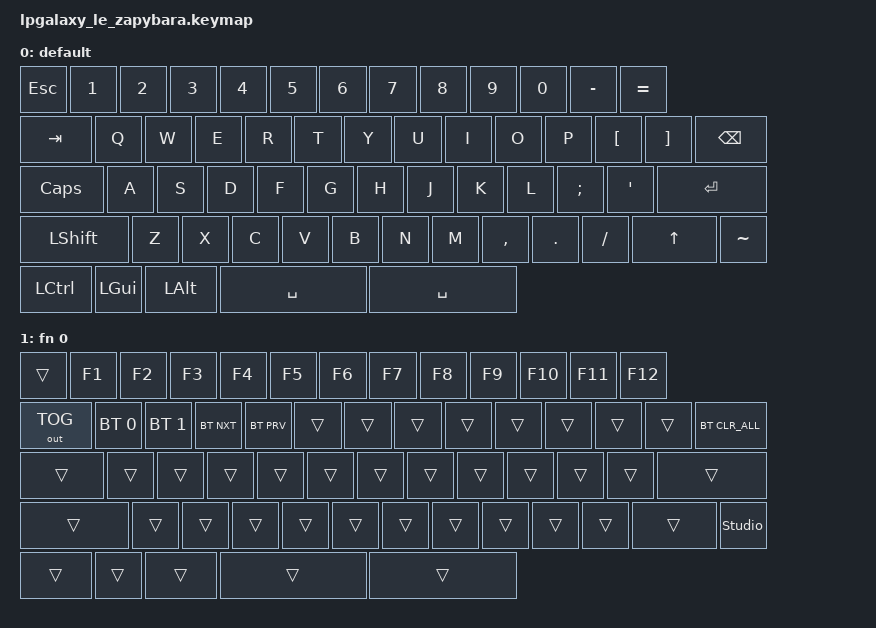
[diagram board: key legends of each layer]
/*
 * Copyright (c) 2020 The ZMK Contributors
 *
 * SPDX-License-Identifier: MIT
 */

/* #undef ZMK_BEHAVIORS_KEEP_ALL   not enabling all behaviors, it works, add the #! */
/* #define ZMK_BEHAVIORS_KEEP_KT */

#include <behaviors.dtsi>
#include <dt-bindings/zmk/keys.h>
#include <dt-bindings/zmk/bt.h>
#include <dt-bindings/zmk/outputs.h>  /* this needed to enable output toggle */
#include <dt-bindings/zmk/behavior.h>

/ {

    keymap {
        compatible = "zmk,keymap";

        default_layer {
            display-name = "default";
            bindings = <
                &kp ESC  &kp N1  &kp N2  &kp N3  &kp N4  &kp N5  &kp N6  &kp N7  &kp N8  &kp N9  &kp N0  &kp MINUS  &kp EQUAL
                &kp TAB  &kp Q   &kp W   &kp E   &kp R   &kp T   &kp Y   &kp U   &kp I   &kp O   &kp P   &kp LBKT   &kp RBKT   &kp BSPC
                &kp CAPS &kp A   &kp S   &kp D   &kp F   &kp G   &kp H   &kp J   &kp K   &kp L   &kp SEMI &kp APOS  &kp ENTER
                &kp LSHFT &kp Z  &kp X   &kp C   &kp V   &kp B   &kp N   &kp M  &kp COMMA &kp DOT &kp FSLH         &kp UP  &kp TILDE
                &kp LCTRL &kp LGUI  &kp LALT       &kp SPACE               &kp SPACE
            >;
        };

        FN_layer {
            display-name = "fn 0";
            bindings = <
                &trans          &kp F1          &kp F2  &kp F3  &kp F4   &kp F5  &kp F6  &kp F7  &kp F8  &kp F9  &kp F10  &kp F11  &kp F12
                &out OUT_TOG    &bt BT_SEL 0    &bt BT_SEL 1    &bt BT_NXT &bt BT_PRV &trans  &trans  &trans  &trans  &trans &trans &trans &trans &bt BT_CLR_ALL
                &trans          &trans          &trans  &trans  &trans   &trans  &trans  &trans  &trans  &trans   &trans &trans  &trans
                &trans          &trans          &trans  &trans  &trans   &trans  &trans  &trans  &trans &trans &trans &trans &studio_unlock
                &trans          &trans          &trans  &trans  &trans
            >;
        };

        extra1 {
            status = "reserved";
        };
    };
};
